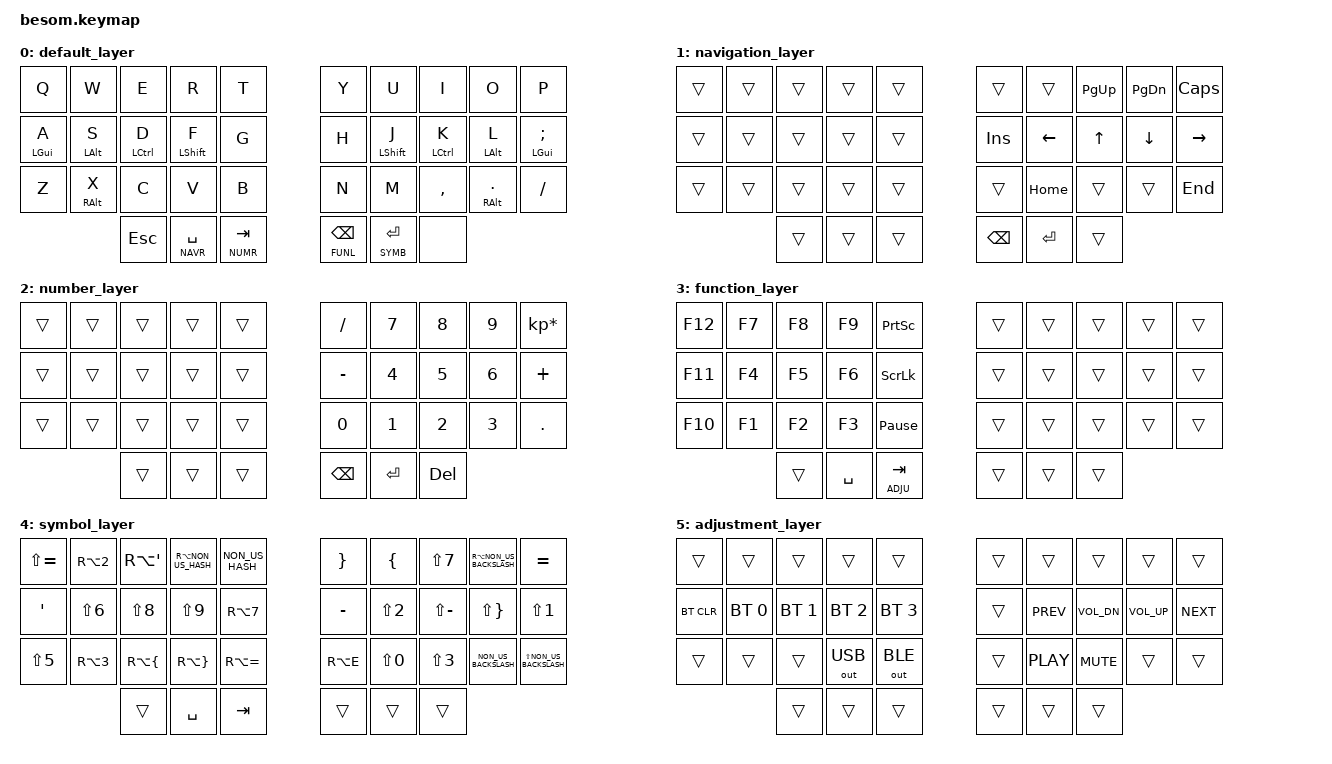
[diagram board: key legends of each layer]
/*
 * Copyright (c) 2020 The ZMK Contributors
 *
 * SPDX-License-Identifier: MIT
 */
 
#include <behaviors.dtsi>
#include <dt-bindings/zmk/keys.h>
#include <dt-bindings/zmk/bt.h>
#include <dt-bindings/zmk/ext_power.h>
#include <dt-bindings/zmk/outputs.h>

#define DEFAULT 0
#define NAVR   1
#define NUMR   2
#define FUNL   3
#define SYMB   4
#define ADJU   5

// Some key mapping for CH layout
#define CH_Y        Z
#define CH_Z        Y
#define CH_MINS     SLASH
#define CH_PLUS     LS(N1)
#define CH_GRV      LS(EQUAL)
#define CH_AT       RA(N2)
#define CH_LCBR     RA(SQT)
#define CH_RCBR     RA(NON_US_HASH)
#define CH_DLR      NON_US_HASH
#define CH_ADIA     SQT
#define CH_AMPR     LS(N6)
#define CH_LPRN     LS(N8)
#define CH_RPRN     LS(N9)
#define CH_PIPE     RA(N7)
#define CH_PERC     LS(N5)
#define CH_HASH     RA(N3)
#define CH_LBRC     RA(LBRC)
#define CH_RBRC     RA(RBRC)
#define CH_TILD     RA(EQUAL)
#define CH_DIAE     RBRC
#define CH_UDIA     LBRC 
#define CH_SLSH     LS(N7)
#define CH_BSLS     RA(NON_US_BACKSLASH)
#define CH_CIRC     EQUAL
#define CH_QUOT     MINUS
#define CH_DQUO     LS(N2)
#define CH_QUES     LS(MINUS) 
#define CH_EXLM     LS(RBRC)
#define CH_EURO     RA(E)
#define CH_EQL      LS(N0)
#define CH_ASTR     LS(N3)
#define CH_LABK     NON_US_BACKSLASH
#define CH_RABK     LS(NON_US_BACKSLASH)
// ------------------------------

/ {
	behaviors {
        hm: homerow_mods {
            compatible = "zmk,behavior-hold-tap";
            label = "HOMEROW_MODS";
            #binding-cells = <2>;
            tapping-term-ms = <280>;
            quick_tap_ms = <0>;
            flavor = "tap-preferred";
            bindings = <&kp>, <&kp>;
        };
    };

	keymap {
		compatible = "zmk,keymap";                                                  

		default_layer {
// ------------------------------------------------------------------                   ------------------------------------------------------------------
// |     Q      |    W       |     E      |     R      |     T      |                   |    CH_Z    |     U      |      I     |     O      |      P     |
// |  GUI / A   | LALT / S   | LCTRL / D  | LSHFT / F  |     G      |					|     H      | LSHFT   J  | LCTR   K   | LALT   L   | LGUI   ;   |
// |     CH_Y   | RALT / X   |     C      |     V      |     B      |					|     N      |     M      |      ,     | RALT   .   |   CH_MINS  |
// --------------------------|    ESC     | NAVR/SPACE | NUMR/TAB   |					|  UNL/BSPC  |  SYMB/RET  |            |--------------------------                 
//                            ---------------------------------------					---------------------------------------
			bindings = <
	&kp Q        &kp W        &kp E        &kp R          &kp T                          &kp CH_Z      &kp U        &kp I        &kp O        &kp P        
	&hm LGUI A   &hm LALT S   &hm LCTRL D  &hm LSHFT F    &kp G                          &kp H         &hm LSHFT J  &hm LCTRL K  &hm LALT L   &hm LGUI SEMI
	&kp CH_Y     &hm RALT X   &kp C        &kp V          &kp B                          &kp N         &kp M        &kp COMMA    &hm RALT DOT &kp CH_MINS  
	                          &kp ESC      &lt NAVR SPACE &lt NUMR TAB                   &lt FUNL BSPC &lt SYMB RET &none  	
			>;                                                                           
        };

		navigation_layer {                                                              
// ------------------------------------------------------------------                   ------------------------------------------------------------------
// |            |            |            |            |            |                   |            |            |   PGUP     |  PGDW      |   CAPS     |
// |            |            |            |            |            |                   |   INS      |  LEFT      |   UP       |  DOWN      |   RIGHT    |
// |            |            |            |            |            |                   |            |  HOME      |            |            |   END      |
// --------------------------|            |            |            |                   |   BSPC     |  RET       |            |---------------------------              
//                            ---------------------------------------                   ---------------------------------------
            bindings = <
    &trans       &trans       &trans       &trans       &trans                           &trans       &trans       &kp PG_UP    &kp PG_DN    &kp CAPS  
    &trans       &trans       &trans       &trans       &trans                           &kp INS      &kp LEFT     &kp UP       &kp DOWN     &kp RIGHT 
    &trans       &trans       &trans       &trans       &trans                           &trans       &kp HOME     &trans       &trans       &kp END   
				              &trans       &trans       &trans                           &kp BSPC     &kp RET      &trans
            >;
        };

		number_layer {                                                                 
// ------------------------------------------------------------------                   ------------------------------------------------------------------
// |            |            |            |            |            |                   |    /       |   7        |   8        |   8        |   *        |
// |            |            |            |            |            |                   |    -       |   4        |   5        |   6        |   +        |
// |            |            |            |            |            |                   |   0     =  |   1        |   2        |   3        |   .        |
//  --------------------------------------|            |            |                   |    BSPC    |   RET      |   DEL      |--------------------------                   
//                             ---------------------------------------                  ---------------------------------------
            bindings = <                                                                
    &trans       &trans       &trans       &trans       &trans                           &kp SLASH    &kp N7       &kp N8       &kp N9       &kp KP_ASTERISK
    &trans       &trans       &trans       &trans       &trans                           &kp MINUS    &kp N4       &kp N5       &kp N6       &kp PLUS       
    &trans       &trans       &trans       &trans       &trans                           &kp N0       &kp N1       &kp N2       &kp N3       &kp DOT      
				              &trans       &trans       &trans                           &kp BSPC     &kp RET      &kp DEL 
            >;
        };

		function_layer {
// ------------------------------------------------------------------                   ------------------------------------------------------------------
// |  F12       |  F7        |  F8        |  F9        |  PSCR      |                   |            |            |            |            |            |
// |  F11       |  F4        |  F5        |  F6        |  SLCK      |                   |            |            |            |            |            |
// |  F10       |  F1        |  F2        |  F3        |  PAUS      |                   |            |            |            |            |            |
// --------------------------|            |  SPACE     |  ADJU      |                   |            |            |            |--------------------------                     
//                            ---------------------------------------                   ---------------------------------------
            bindings = <                                                                
    &kp F12      &kp F7       &kp F8       &kp F9       &kp PSCRN                        &trans       &trans       &trans       &trans       &trans     
    &kp F11      &kp F4       &kp F5       &kp F6       &kp SLCK                         &trans       &trans       &trans       &trans       &trans     
    &kp F10      &kp F1       &kp F2       &kp F3       &kp PAUSE_BREAK                  &trans       &trans       &trans       &trans       &trans     
	                          &trans       &kp SPACE    &lt ADJU TAB                     &trans       &trans       &trans
            >;
        };

		symbol_layer {                                                                  
// ------------------------------------------------------------------                   ------------------------------------------------------------------
// |     `      |     @      |     {      |     }      |     $      |                   |     ¨      |     ü      |     /      |     \      |     ^      |
// |     ä      |     &      |     (      |     )      |     |      |                   |     '      |     "      |     ?      |     !      |     +      |
// |     %      |     #      |     [      |     ]      |     ~      |                   |     €      |     =      |     *      |     <      |     >      |
// --------------------------|            |    SPC     |    TAB     |                   |            |            |            |--------------------------                
//                            ---------------------------------------                   ---------------------------------------
            bindings = <                                                                 
    &kp CH_GRV   &kp CH_AT    &kp CH_LCBR  &kp CH_RCBR  &kp CH_DLR                       &kp CH_DIAE  &kp CH_UDIA  &kp CH_SLSH  &kp CH_BSLS  &kp CH_CIRC 
    &kp CH_ADIA  &kp CH_AMPR  &kp CH_LPRN  &kp CH_RPRN  &kp CH_PIPE                      &kp CH_QUOT  &kp CH_DQUO  &kp CH_QUES  &kp CH_EXLM  &kp CH_PLUS 
    &kp CH_PERC  &kp CH_HASH  &kp CH_LBRC  &kp CH_RBRC  &kp CH_TILD                      &kp CH_EURO  &kp CH_EQL   &kp CH_ASTR  &kp CH_LABK  &kp CH_RABK 
	                          &trans       &kp SPACE    &kp TAB                          &trans       &trans       &trans     
            >;                                                                           
        };

		adjustment_layer {
// ------------------------------------------------------------------                   ------------------------------------------------------------------
// |            |            |            |            |            |                   |            |            |            |            |            |
// |   BT CLR   |   BT 0     |   BT 1     |   BT 2     |   BT 3     |                   |            |  prev      |  Vol down  |  Vol up    | next       |
// |            |            |            |  OUT_USB   |  OUT_BLE	|                   |            |  play      |  mute      |            |            |
// --------------------------|            |            |            |                   |            |            |            |--------------------------                   
//                            ---------------------------------------                   ---------------------------------------
            bindings = <                                                                  
    &trans       &trans       &trans       &trans       &trans                           &trans       &trans       &trans       &trans       &trans    
    &bt BT_CLR   &bt BT_SEL 0 &bt BT_SEL 1 &bt BT_SEL 2 &bt BT_SEL 3                     &trans       &kp C_PREV   &kp C_VOL_DN &kp C_VOL_UP &kp C_NEXT
    &trans       &trans       &trans       &out OUT_USB &out OUT_BLE                     &trans       &kp C_PLAY   &kp C_MUTE   &trans       &trans    
				              &trans       &trans       &trans                           &trans       &trans       &trans
            >;                                                                           
        };



//		template_layer {                                                                 
// ------------------------------------------------------------------                    ------------------------------------------------------------------
// |            |            |            |            |            |                    |            |            |            |            |            |
// |            |            |            |            |            |                    |            |            |            |            |            |
// |            |            |            |            |            |                    |            |            |            |            |            |
// --------------------------|            |            |            |                    |            |            |            |--------------------------                
//                            ---------------------------------------                    ---------------------------------------
//          bindings = <
//  &trans       &trans       &trans       &trans       &trans                           &trans       &trans       &trans       &trans       &trans
//  &trans       &trans       &trans       &trans       &trans                           &trans       &trans       &trans       &trans       &trans
//  &trans       &trans       &trans       &trans       &trans                           &trans       &trans       &trans       &trans       &trans
//                            &trans       &trans       &trans                           &trans       &trans       &trans
//          >;
//      };


	};
};
